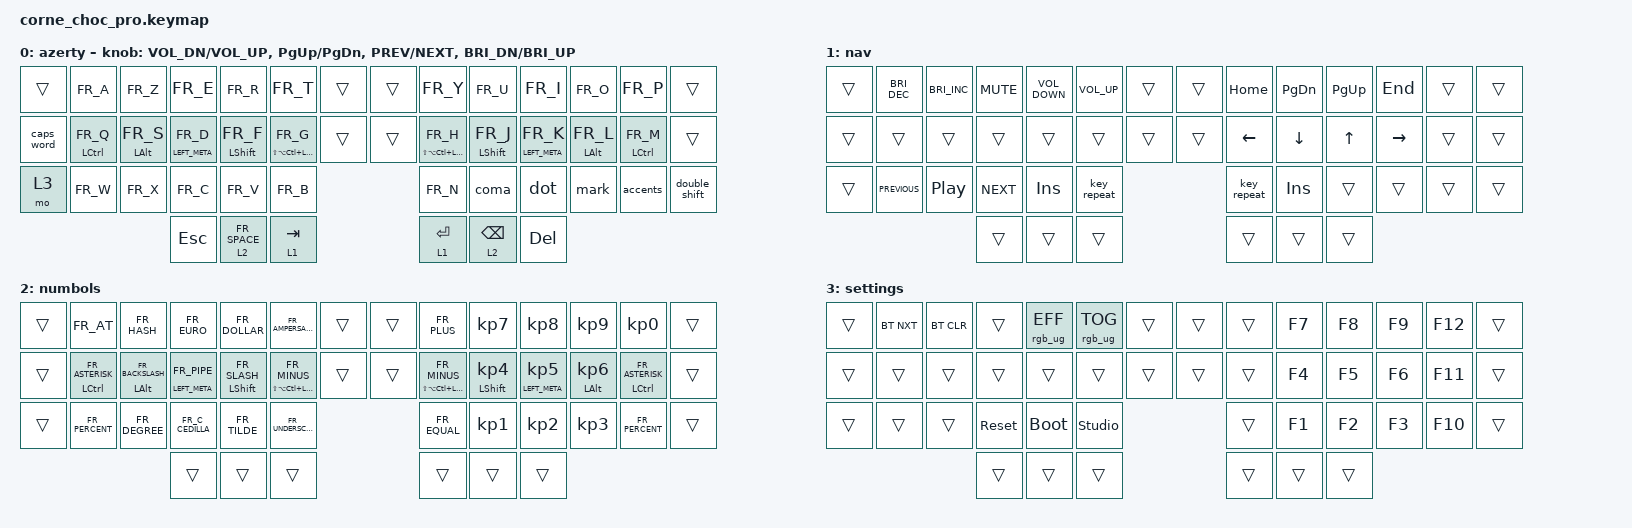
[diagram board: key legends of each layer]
/*
 * Copyright (c) 2020 The ZMK Contributors
 *
 * SPDX-License-Identifier: MIT
 */

#include "keys_fr.h" // or your language file
#include <behaviors.dtsi>
#include <dt-bindings/zmk/bt.h>
#include <dt-bindings/zmk/keys.h>
#include <dt-bindings/zmk/rgb.h>

&sk { quick-release; };

&lt {
    flavor = "balanced";
    quick-tap-ms = <200>;
};

&sl { ignore-modifiers; };

/ {
    chosen { zmk,physical-layout = &default_layout; };
};

/ {
    behaviors {
        hrm_left: hrm_left {
            compatible = "zmk,behavior-hold-tap";
            label = "HRM_LEFT";
            bindings = <&kp>, <&kp>;

            #binding-cells = <2>;
            tapping-term-ms = <200>;
            hold-trigger-key-positions = <8 9 10 11 12 13 22 23 24 25 26 27 34 35 36 37 38 39 43 44 45>;
            hold-trigger-on-release;
            flavor = "balanced";
            require-prior-idle-ms = <150>;
            quick-tap-ms = <175>;
        };

        hrm_right: hrm_right {
            compatible = "zmk,behavior-hold-tap";
            label = "HRM_RIGHT";
            bindings = <&kp>, <&kp>;

            #binding-cells = <2>;
            tapping-term-ms = <200>;
            hold-trigger-on-release;
            flavor = "balanced";
            require-prior-idle-ms = <150>;
            quick-tap-ms = <175>;
            hold-trigger-key-positions = <0 1 2 3 4 5 14 15 16 17 18 19 28 29 30 31 32 33 40 41 42>;
        };

        coma: coma {
            compatible = "zmk,behavior-mod-morph";
            label = "COMA";
            bindings = <&kp FR_COMMA>, <&kp FR_SEMI>;

            #binding-cells = <0>;
            mods = <(MOD_LSFT)>;
        };

        dot: dot {
            compatible = "zmk,behavior-mod-morph";
            label = "DOT";
            bindings = <&kp LS(FR_SEMI)>, <&kp FR_COLON>;

            #binding-cells = <0>;
            mods = <(MOD_LSFT)>;
        };

        mark: mark {
            compatible = "zmk,behavior-mod-morph";
            label = "MARK";
            bindings = <&kp FR_EXCLAMATION>, <&kp FR_QUESTION>;

            #binding-cells = <0>;
            mods = <(MOD_LSFT)>;
        };

        quote: quote {
            compatible = "zmk,behavior-mod-morph";
            label = "QUOTE";
            bindings = <&kp FR_SINGLE_QUOTE>, <&kp FR_DOUBLE_QUOTES>;

            #binding-cells = <0>;
            mods = <(MOD_LSFT)>;
        };

        accents: accents {
            compatible = "zmk,behavior-tap-dance";
            label = "ACCENTS";
            #binding-cells = <0>;
            bindings = <&kp FR_GRAVE>, <&kp FR_CARET>, <&kp FR_UMLAUT>, <&none>;

            tapping-term-ms = <200>;
        };

        bt_ht: bt_ht {
            compatible = "zmk,behavior-hold-tap";
            label = "BT_HT";
            bindings = <&bt>, <&bt>;

            #binding-cells = <2>;
            tapping-term-ms = <3000>;
        };

        rgb_ht: rgb_ht {
            compatible = "zmk,behavior-hold-tap";
            label = "RGB_HT";
            bindings = <&rgb_ug>, <&rgb_ug>;

            #binding-cells = <2>;
            tapping-term-ms = <3000>;
        };

        meh_caps: meh_caps {
            compatible = "zmk,behavior-hold-tap";
            label = "MEH_CAPS";
            bindings = <&kp>, <&caps_word>;

            #binding-cells = <2>;
            tapping-term-ms = <200>;
        };

        hrm_left_repeat: hrm_left_repeat {
            compatible = "zmk,behavior-hold-tap";
            label = "HRM_LEFT_REPEAT";
            bindings = <&kp>, <&key_repeat>;

            #binding-cells = <2>;
            tapping-term-ms = <280>;
            hold-trigger-key-positions = <8 9 10 11 12 13 22 23 24 25 26 27 34 35 36 37 38 39 43 44 45>;
            hold-trigger-on-release;
            flavor = "balanced";
            require-prior-idle-ms = <150>;
            quick-tap-ms = <175>;
        };
    };

    combos {
        compatible = "zmk,combos";

        left_curly_brace {
            bindings = <&kp FR_LEFT_BRACE>;
            key-positions = <4 5>;
            layers = <0>;
            require-prior-idle-ms = <150>;
        };

        right_curly_brace {
            bindings = <&kp FR_RIGHT_BRACE>;
            key-positions = <9 8>;
            layers = <0>;
            require-prior-idle-ms = <150>;
        };

        left_paren {
            bindings = <&kp FR_LEFT_PARENTHESIS>;
            key-positions = <18 19>;
            layers = <0>;
            require-prior-idle-ms = <150>;
        };

        right_paren {
            bindings = <&kp FR_RIGHT_PARENTHESIS>;
            key-positions = <23 22>;
            layers = <0>;
            require-prior-idle-ms = <150>;
        };

        left_bracket {
            bindings = <&kp FR_LEFT_BRACKET>;
            key-positions = <32 33>;
            layers = <0>;
            require-prior-idle-ms = <150>;
        };

        right_bracket {
            bindings = <&kp FR_RIGHT_BRACKET>;
            key-positions = <35 34>;
            layers = <0>;
            require-prior-idle-ms = <150>;
        };

        double_quotes {
            bindings = <&kp FR_DOUBLE_QUOTES>;
            key-positions = <9 10>;
            layers = <0>;
            require-prior-idle-ms = <150>;
        };

        single_quote {
            bindings = <&kp FR_SINGLE_QUOTE>;
            key-positions = <23 24>;
            layers = <0>;
            require-prior-idle-ms = <150>;
        };

        BACKTICK {
            bindings = <&kp FR_GRAVE>;
            key-positions = <35 36>;
            require-prior-idle-ms = <150>;
            layers = <0>;
        };

        eacute {
            bindings = <&kp FR_E_ACUTE>;
            key-positions = <3 4>;
            layers = <0>;
            require-prior-idle-ms = <150>;
        };

        egrave {
            bindings = <&kp FR_E_GRAVE>;
            key-positions = <3 2>;
            layers = <0>;
            require-prior-idle-ms = <150>;
        };

        slash {
            bindings = <&kp FR_SLASH>;
            key-positions = <4 18>;
            layers = <0>;
            require-prior-idle-ms = <150>;
        };

        backslash {
            bindings = <&kp FR_BACKSLASH>;
            key-positions = <9 23>;
            layers = <0>;
            require-prior-idle-ms = <150>;
        };

        less {
            bindings = <&kp FR_LESS_THAN>;
            key-positions = <18 32>;
            layers = <0>;
            require-prior-idle-ms = <150>;
        };

        greater {
            bindings = <&kp FR_GREATER_THAN>;
            key-positions = <23 35>;
            layers = <0>;
            require-prior-idle-ms = <150>;
        };

        agrave {
            bindings = <&kp FR_A_GRAVE>;
            key-positions = <1 0>;
            require-prior-idle-ms = <150>;
            layers = <0>;
        };
    };

    macros {
        double_shift: double_shift {
            compatible = "zmk,behavior-macro";
            #binding-cells = <0>;
            bindings = <&kp RIGHT_SHIFT &kp RIGHT_SHIFT>;
            label = "DOUBLE_SHIFT";
        };
    };

    keymap {
        compatible = "zmk,keymap";

        default_layer {
            display-name = "azerty";

            // --------------------------------------------------------------------------------
            // |  TAB |  Q  |  W  |  E  |  R  |  T  |  MUTE |  PP   |  Y  |  U   |  I  |  O  |  P  | BSPC |
            // | CTRL |  A  |  S  |  D  |  F  |  G  |  LALT |  RALT |  H  |  J   |  K  |  L  |  ;  |  '   |
            // | SHFT |  Z  |  X  |  C  |  V  |  B  |               |  N  |  M   |  ,  |  .  |  /  | ESC  |
            //                    | GUI | LWR | SPC |               | ENT | RSE  | ALT |

            bindings = <
&trans      &kp FR_A                     &kp FR_Z                 &kp FR_E                  &kp FR_R                   &kp FR_T                              &trans  &trans  &kp FR_Y                               &kp FR_U                    &kp FR_I                   &kp FR_O                  &kp FR_P                      &trans
&caps_word  &hrm_left LEFT_CONTROL FR_Q  &hrm_left LEFT_ALT FR_S  &hrm_left LEFT_META FR_D  &hrm_left LEFT_SHIFT FR_F  &hrm_left LS(LA(LC(LEFT_META))) FR_G  &trans  &trans  &hrm_right LS(LA(LC(LEFT_META))) FR_H  &hrm_right LEFT_SHIFT FR_J  &hrm_right LEFT_META FR_K  &hrm_right LEFT_ALT FR_L  &hrm_right LEFT_CONTROL FR_M  &trans
&mo 3       &kp FR_W                     &kp FR_X                 &kp FR_C                  &kp FR_V                   &kp FR_B                                              &kp FR_N                               &coma                       &dot                       &mark                     &accents                      &double_shift
                                                                  &kp ESCAPE                &lt 2 FR_SPACE             &lt 1 TAB                                             &lt 1 ENTER                            &lt 2 BACKSPACE             &kp DELETE
            >;
            sensor-bindings = <&inc_dec_kp C_VOL_DN C_VOL_UP &inc_dec_kp PG_UP PG_DN &inc_dec_kp C_PREV C_NEXT &inc_dec_kp C_BRI_DN C_BRI_UP>;
        };

        nav_layer {
            display-name = "nav";
            bindings = <
&trans  &kp C_BRIGHTNESS_DEC  &kp C_BRIGHTNESS_INC  &kp C_MUTE  &kp C_VOLUME_DOWN  &kp C_VOLUME_UP  &trans  &trans  &kp HOME     &kp PAGE_DOWN  &kp PAGE_UP  &kp END    &trans  &trans
&trans  &trans                &trans                &trans      &trans             &trans           &trans  &trans  &kp LEFT     &kp DOWN       &kp UP       &kp RIGHT  &trans  &trans
&trans  &kp C_PREVIOUS        &kp C_PLAY_PAUSE      &kp C_NEXT  &kp INSERT         &key_repeat                      &key_repeat  &kp INSERT     &trans       &trans     &trans  &trans
                                                    &trans      &trans             &trans                           &trans       &trans         &trans
            >;
        };

        numbol_layer {
            display-name = "numbols";

            // -----------------------------------------------------------------------------------------
            // |  TAB |  !  |  @  |  #  |  $  |  %  | LCTRL | RCTRL |  ^  |  &  |  *  |  (  |  )  | BSPC |
            // | CTRL |     |     |     |     |     |  LALT | RALT  |  -  |  =  |  [  |  ]  |  \  |  `   |
            // | SHFT |     |     |     |     |     |               |  _  |  +  |  {  |  }  | "|" |  ~   |
            //                    | GUI |     | SPC |               | ENT |     | ALT |

            bindings = <
&trans  &kp FR_AT                           &kp FR_HASH                      &kp FR_EURO                  &kp FR_DOLLAR                  &kp FR_AMPERSAND                          &trans  &trans  &kp FR_PLUS                                &kp KP_N7                    &kp KP_N8                   &kp KP_N9                  &kp KP_N0                            &trans
&trans  &hrm_left LEFT_CONTROL FR_ASTERISK  &hrm_left LEFT_ALT FR_BACKSLASH  &hrm_left LEFT_META FR_PIPE  &hrm_left LEFT_SHIFT FR_SLASH  &hrm_left LS(LA(LC(LEFT_META))) FR_MINUS  &trans  &trans  &hrm_right LS(LA(LC(LEFT_META))) FR_MINUS  &hrm_right LEFT_SHIFT KP_N4  &hrm_right LEFT_META KP_N5  &hrm_right LEFT_ALT KP_N6  &hrm_right LEFT_CONTROL FR_ASTERISK  &trans
&trans  &kp FR_PERCENT                      &kp FR_DEGREE                    &kp FR_C_CEDILLA             &kp FR_TILDE                   &kp FR_UNDERSCORE                                         &kp FR_EQUAL                               &kp KP_N1                    &kp KP_N2                   &kp KP_N3                  &kp FR_PERCENT                       &trans
                                                                             &trans                       &trans                         &trans                                                    &trans                                     &trans                       &trans
            >;
        };

        settings_layer {
            display-name = "settings";

            // -----------------------------------------------------------------------------------------
            // |  TAB |  1  |  2  |  3  |  4  |  5    |  LCTRL | RCTRL |  6  |  7  |  8  |  9  |  0  | BSPC |
            // | CTRL | BT1 | BT2 | BT3 | BT4 | BT5   |  LALT  | RALT  | LFT | DWN |  UP | RGT |     |      |
            // | SHFT | BTCR| RGB | RST | BOOT| Unlock|        |       |     |     |     |     |     |      |
            //                    | GUI |     | SPC   |        | ENT   |     | ALT |

            bindings = <
&trans  &bt BT_NXT  &bt BT_CLR  &trans      &rgb_ug RGB_EFF  &rgb_ug RGB_TOG  &trans  &trans  &trans  &kp F7  &kp F8  &kp F9  &kp F12  &trans
&trans  &trans      &trans      &trans      &trans           &trans           &trans  &trans  &trans  &kp F4  &kp F5  &kp F6  &kp F11  &trans
&trans  &trans      &trans      &sys_reset  &bootloader      &studio_unlock                   &trans  &kp F1  &kp F2  &kp F3  &kp F10  &trans
                                &trans      &trans           &trans                           &trans  &trans  &trans
            >;
        };
    };
};
